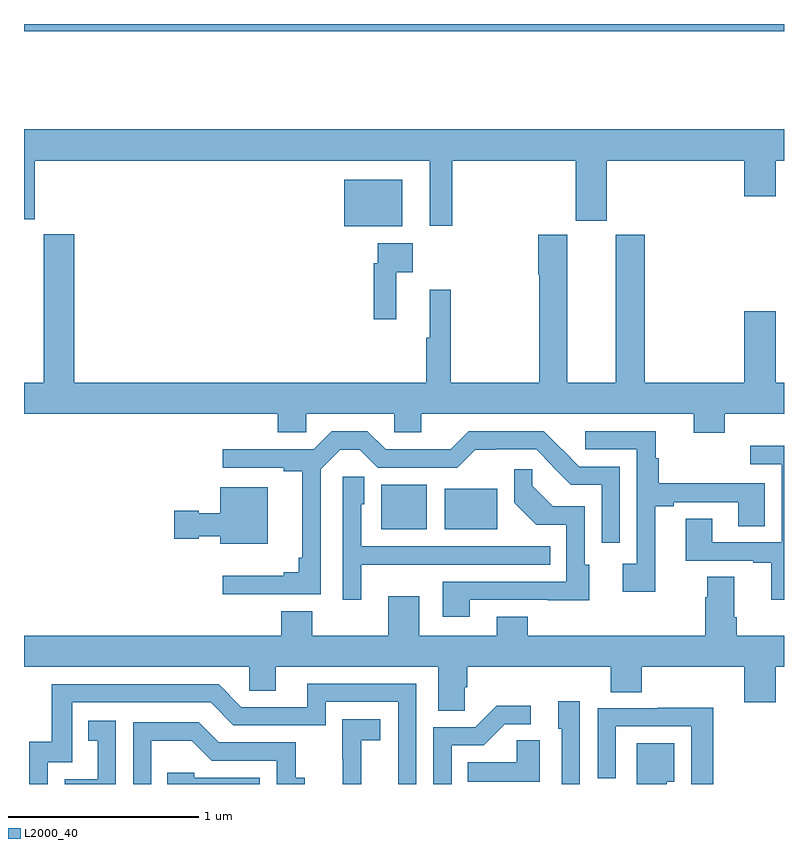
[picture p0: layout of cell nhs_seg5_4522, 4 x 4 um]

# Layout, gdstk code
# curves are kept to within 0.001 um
import gdstk
lib = gdstk.Library(unit=1e-6, precision=1e-09)
def R(c, l, rs):  # rectangles x0, y0, x1, y1
    for r in rs: c.add(gdstk.rectangle(r[:2], r[2:], *l))
def P(c, l, *ps):  # polygons
    for p in ps: c.add(gdstk.Polygon(p, *l))
L2000_40 = (2000, 40)

nhs_seg5_4522 = lib.new_cell('nhs_seg5_4522')
R(nhs_seg5_4522, L2000_40, [(378.881,868.139,379.12,868.375), (379.214,868.139,379.492,868.354), (378.686,869.735,378.991,869.98), (377,870.76,381,870.799)])
P(nhs_seg5_4522, L2000_40, [(379.253,870.08),(379.904,870.08),(379.904,869.763),(380.068,869.763),(380.068,870.08),(380.792,870.08),(380.792,869.892),(380.956,869.892),(380.956,870.08),(381,870.08),(381,870.244),(377,870.244),(377,869.771),(377.056,869.771),(377.056,870.08),(379.136,870.08),(379.136,869.736),(379.253,869.736)],
  [(380.689,868.748),(381,868.748),(381,868.912),(380.956,868.912),(380.956,869.287),(380.792,869.287),(380.792,868.912),(380.267,868.912),(380.267,869.691),(380.114,869.691),(380.114,868.912),(379.858,868.912),(379.858,869.691),(379.706,869.691),(379.706,869.479),(379.711,869.479),(379.711,868.912),(379.246,868.912),(379.246,869.401),(379.136,869.401),(379.136,869.148),(379.117,869.148),(379.117,868.912),(377.264,868.912),(377.264,869.692),(377.104,869.692),(377.104,868.912),(377,868.912),(377,868.748),(378.335,868.748),(378.335,868.65),(378.486,868.65),(378.486,868.748),(378.948,868.748),(378.948,868.65),(379.09,868.65),(379.09,868.748),(380.525,868.748),(380.525,868.649),(380.689,868.649)],
  [(378.959,869.492),(379.045,869.492),(379.045,869.644),(378.861,869.644),(378.861,869.54),(378.841,869.54),(378.841,869.244),(378.959,869.244)],
  [(378.257,867.798),(378.561,867.798),(378.561,868.455),(378.665,868.559),(378.766,868.559),(378.861,868.464),(379.281,868.464),(379.376,868.559),(379.695,868.56),(379.785,868.47),(379.783,868.468),(379.877,868.374),(380.04,868.374),(380.04,868.068),(380.136,868.068),(380.136,868.47),(379.923,868.47),(379.735,868.656),(379.341,868.656),(379.247,868.562),(379.142,868.562),(379.142,868.56),(378.903,868.56),(378.807,868.656),(378.62,868.656),(378.524,868.56),(378.291,868.56),(378.291,868.562),(378.045,868.562),(378.045,868.464),(378.368,868.464),(378.368,868.444),(378.464,868.444),(378.464,867.991),(378.445,867.991),(378.445,867.914),(378.368,867.914),(378.368,867.895),(378.045,867.895),(378.045,867.797)],
  [(380.323,868.261),(380.419,868.261),(380.419,868.281),(380.759,868.281),(380.759,868.156),(380.899,868.156),(380.899,868.382),(380.342,868.382),(380.342,868.514),(380.324,868.514),(380.324,868.656),(379.953,868.656),(379.953,868.56),(380.226,868.56),(380.226,867.958),(380.151,867.958),(380.151,867.81),(380.323,867.81)],
  [(381,868.579),(380.823,868.579),(380.823,868.482),(380.988,868.482),(380.988,868.071),(380.623,868.071),(380.623,868.196),(380.483,868.196),(380.483,867.975),(380.837,867.975),(380.837,867.963),(380.933,867.963),(380.933,867.768),(381,867.768)],
  [(379.345,867.768),(379.975,867.767),(379.975,867.954),(379.95,867.954),(379.95,868.26),(379.784,868.26),(379.676,868.368),(379.676,868.456),(379.581,868.456),(379.581,868.28),(379.697,868.164),(379.854,868.164),(379.854,867.864),(379.205,867.864),(379.205,867.678),(379.345,867.678)],
  [(378.775,867.953),(379.109,867.953),(379.109,867.954),(379.769,867.954),(379.769,868.05),(378.774,868.05),(378.774,868.272),(378.79,868.272),(378.79,868.415),(378.678,868.415),(378.678,867.768),(378.775,867.768)],
  [(378.283,868.36),(378.032,868.36),(378.032,868.225),(377.919,868.225),(377.919,868.238),(377.79,868.238),(377.79,868.091),(377.919,868.091),(377.919,868.103),(378.032,868.103),(378.032,868.064),(378.283,868.064)],
  [(379.32,867.307),(379.334,867.307),(379.334,867.416),(380.087,867.416),(380.087,867.283),(380.252,867.283),(380.252,867.416),(380.792,867.416),(380.792,867.228),(380.956,867.228),(380.956,867.416),(381,867.416),(381,867.58),(380.75,867.58),(380.75,867.676),(380.737,867.676),(380.737,867.89),(380.597,867.89),(380.597,867.782),(380.585,867.782),(380.585,867.58),(379.651,867.58),(379.651,867.679),(379.487,867.679),(379.487,867.58),(379.081,867.58),(379.081,867.787),(378.917,867.787),(378.917,867.58),(378.517,867.58),(378.517,867.709),(378.353,867.709),(378.353,867.58),(377,867.58),(377,867.416),(378.186,867.416),(378.186,867.289),(378.325,867.289),(378.325,867.416),(379.181,867.416),(379.181,867.184),(379.32,867.184)],
  [(377.124,866.913),(377.253,866.913),(377.253,867.228),(377.982,867.228),(378.102,867.108),(378.588,867.108),(378.588,867.231),(378.969,867.231),(378.969,866.799),(379.065,866.799),(379.065,867.327),(378.491,867.327),(378.491,867.204),(378.144,867.204),(378.024,867.324),(377.145,867.324),(377.145,867.022),(377.027,867.022),(377.027,866.799),(377.124,866.799)],
  [(379.926,867.235),(379.811,867.235),(379.811,867.09),(379.83,867.09),(379.83,866.799),(379.926,866.799)],
  [(379.251,867.003),(379.42,867.003),(379.531,867.114),(379.666,867.114),(379.666,867.212),(379.487,867.212),(379.374,867.099),(379.155,867.099),(379.155,866.799),(379.251,866.799)],
  [(380.627,867.2),(380.335,867.2),(380.335,867.198),(380.019,867.198),(380.019,866.829),(380.115,866.829),(380.115,867.102),(380.511,867.102),(380.511,866.799),(380.627,866.799)],
  [(378.774,866.801),(378.776,866.801),(378.776,867.029),(378.874,867.029),(378.874,867.139),(378.676,867.139),(378.676,866.933),(378.677,866.933),(378.677,866.799),(378.774,866.799)],
  [(377.484,867.133),(377.338,867.133),(377.338,867.027),(377.387,867.027),(377.387,866.823),(377.214,866.823),(377.214,866.799),(377.484,866.799)],
  [(377.67,867.026),(377.884,867.026),(377.988,866.922),(378.33,866.922),(378.33,866.799),(378.478,866.799),(378.478,866.833),(378.429,866.833),(378.429,867.018),(378.025,867.018),(377.92,867.123),(377.574,867.123),(377.574,866.799),(377.67,866.799)],
  [(379.714,867.029),(379.593,867.029),(379.593,866.914),(379.336,866.914),(379.336,866.81),(379.714,866.81)],
  [(380.383,866.81),(380.422,866.81),(380.422,867.013),(380.225,867.013),(380.225,866.799),(380.383,866.799)],
  [(378.24,866.832),(377.895,866.832),(377.895,866.859),(377.755,866.859),(377.755,866.799),(378.24,866.799)])

lib.write_gds('nhs_seg5_4522.gds')
